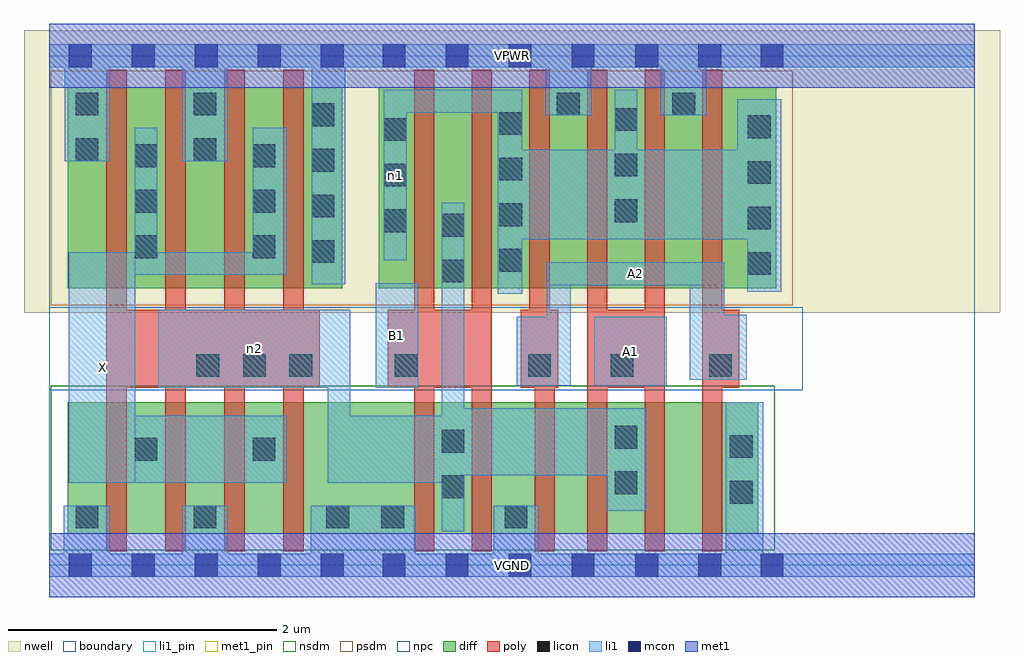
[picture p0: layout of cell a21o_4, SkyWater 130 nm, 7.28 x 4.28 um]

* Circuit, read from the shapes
.subckt a21o_4 A1 A2 B1 VGND VPWR X n1 n2
XM1 X n2 VGND VSUBS sky130_fd_pr__nfet_01v8 w=0.98 l=0.15 m=4
XM2 n2 B1 VGND VSUBS sky130_fd_pr__nfet_01v8 w=0.98 l=0.15 m=2
XM3 n3 A2 VGND VSUBS sky130_fd_pr__nfet_01v8 w=0.98 l=0.15
XM4 n2 A1 n3 VSUBS sky130_fd_pr__nfet_01v8 w=0.98 l=0.15
XM5 n4 A1 n2 VSUBS sky130_fd_pr__nfet_01v8 w=0.98 l=0.15
XM6 VGND A2 n4 VSUBS sky130_fd_pr__nfet_01v8 w=0.98 l=0.15
XM7 X n2 VPWR n5 sky130_fd_pr__pfet_01v8 w=1.5 l=0.15 m=4
XM8 n2 B1 n1 n5 sky130_fd_pr__pfet_01v8 w=1.5 l=0.15 m=2
XM9 VPWR A2 n1 n5 sky130_fd_pr__pfet_01v8 w=1.5 l=0.15 m=2
XM10 n1 A1 VPWR n5 sky130_fd_pr__pfet_01v8 w=1.5 l=0.15 m=2
.ends

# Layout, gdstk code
import gdstk
lib = gdstk.Library(unit=1e-6, precision=1e-09)
def R(c, l, rs):  # rectangles x0, y0, x1, y1
    for r in rs: c.add(gdstk.rectangle(r[:2], r[2:], *l))
def A(c, l, x, y, w, h, nx, ny, dx, dy):  # array of equal rectangles
    R(c, l, [(x+i*dx, y+j*dy, x+i*dx+w, y+j*dy+h) for i in range(nx) for j in range(ny)])
nwell = (64, 20)
diff = (65, 20)
poly = (66, 20)
licon = (66, 44)
li1_pin = (67, 16)
li1 = (67, 20)
mcon = (67, 44)
met1_pin = (68, 16)
met1 = (68, 20)
nsdm = (93, 44)
psdm = (94, 20)
npc = (95, 20)
boundary = (235, 4)

a21o_4 = lib.new_cell('a21o_4')
R(a21o_4, nwell, [(-0.19,1.885,7.09,3.99), (0,1.885,6.9,3.99)])
R(a21o_4, diff, [(0.135,0.235,5.285,1.215), (0.135,2.065,2.185,3.565), (2.455,2.065,5.42,3.565)])
A(a21o_4, poly, 0.425, 0.105, 0.15, 3.59, 4, 1, 0.44, 0)
A(a21o_4, poly, 4.01, 0.105, 0.15, 3.59, 3, 1, 0.43, 0)
R(a21o_4, poly, [(2.72,0.105,2.87,3.695), (3.15,0.105,3.3,3.695), (3.62,0.105,3.77,1.905), (0.425,1.325,2.015,1.905), (2.525,1.325,3.3,1.905), (3.515,1.325,3.795,1.905), (3.58,1.325,3.73,3.695), (4.01,1.325,4.59,1.905), (4.87,1.325,5.145,1.905)])
A(a21o_4, licon, 5.21, 2.165, 0.17, 0.17, 1, 4, 0, 0.34)
A(a21o_4, licon, 3.355, 2.19, 0.17, 0.17, 1, 4, 0, 0.34)
A(a21o_4, licon, 1.955, 2.255, 0.17, 0.17, 1, 4, 0, 0.34)
A(a21o_4, licon, 0.635, 2.29, 0.17, 0.17, 1, 3, 0, 0.34)
A(a21o_4, licon, 1.515, 2.29, 0.17, 0.17, 1, 3, 0, 0.34)
A(a21o_4, licon, 2.495, 2.485, 0.17, 0.17, 1, 3, 0, 0.34)
A(a21o_4, licon, 4.215, 2.56, 0.17, 0.17, 1, 3, 0, 0.34)
R(a21o_4, licon, [(0.195,0.275,0.365,0.445), (1.075,0.275,1.245,0.445), (2.065,0.275,2.235,0.445), (2.475,0.275,2.645,0.445), (3.395,0.275,3.565,0.445), (5.075,0.46,5.245,0.63), (2.925,0.5,3.095,0.67), (4.215,0.53,4.385,0.7), (0.635,0.78,0.805,0.95), (1.515,0.78,1.685,0.95), (5.075,0.8,5.245,0.97), (2.925,0.84,3.095,1.01), (4.215,0.87,4.385,1.04), (1.095,1.405,1.265,1.575), (1.445,1.405,1.615,1.575), (1.79,1.405,1.96,1.575), (2.575,1.405,2.745,1.575), (3.57,1.405,3.74,1.575), (4.185,1.405,4.355,1.575), (4.92,1.405,5.09,1.575), (2.925,2.11,3.095,2.28), (2.925,2.45,3.095,2.62), (0.195,3.015,0.365,3.185), (1.075,3.015,1.245,3.185), (0.195,3.355,0.365,3.525), (1.075,3.355,1.245,3.525), (3.785,3.355,3.955,3.525), (4.645,3.355,4.815,3.525)])
R(a21o_4, li1_pin, [(0.145,0.615,0.64,2.335), (2.435,1.325,2.75,2.105), (4.065,1.34,4.605,1.855), (3.71,2.09,5.035,2.26)])
R(a21o_4, li1, [(0,-0.085,6.9,0.085), (0.105,-0.085,0.45,0.445), (0.99,-0.085,1.33,0.445), (1.95,-0.085,2.73,0.445), (3.315,-0.085,3.65,0.445), (5.045,-0.085,5.325,1.215), (2.925,0.255,3.095,2.705), (4.16,0.405,4.45,1.17), (0.145,0.615,0.64,2.335), (0.145,0.615,1.77,1.115), (2.075,0.615,3.095,1.115), (2.075,0.615,2.245,1.905), (2.925,0.67,4.45,1.17), (0.81,1.325,2.245,1.905), (2.435,1.325,2.75,2.105), (3.485,1.34,3.89,1.855), (3.71,1.34,3.89,2.26), (4.065,1.34,4.605,1.855), (4.775,1.385,5.035,2.26), (4.775,1.385,5.2,1.87), (3.345,2.025,3.525,3.545), (5.205,2.04,5.46,3.475), (3.71,2.09,5.035,2.26), (1.955,2.095,2.205,3.885), (0.145,2.165,1.77,2.335), (0.635,2.165,0.805,3.265), (1.515,2.165,1.77,3.265), (2.495,2.275,2.665,3.545), (3.345,2.43,5.46,3.1), (4.215,2.43,4.385,3.545), (5.13,2.43,5.46,3.475), (0.115,3.015,0.45,3.885), (0.99,3.015,1.33,3.885), (3.7,3.355,4.04,3.885), (4.56,3.355,4.9,3.885), (2.495,3.375,3.525,3.545), (0,3.715,6.9,3.885)])
A(a21o_4, mcon, 0.145, -0.085, 0.17, 0.17, 5, 2, 0.47, 3.8)
A(a21o_4, mcon, 2.485, -0.085, 0.17, 0.17, 4, 2, 0.47, 3.8)
R(a21o_4, mcon, [(4.37,-0.085,4.54,0.085), (4.84,-0.085,5.01,0.085), (5.305,-0.085,5.475,0.085), (4.37,3.715,4.54,3.885), (4.84,3.715,5.01,3.885), (5.305,3.715,5.475,3.885)])
R(a21o_4, met1_pin, [(0,-0.24,6.9,0.24), (0,3.56,6.9,4.04)])
R(a21o_4, met1, [(0,-0.24,6.9,0.24), (0,3.56,6.9,4.04)])
R(a21o_4, nsdm, [(0.01,0.11,5.41,1.34)])
R(a21o_4, psdm, [(0.01,1.94,5.545,3.69)])
R(a21o_4, npc, [(0,1.305,5.62,1.925)])
R(a21o_4, boundary, [(0,0,6.9,3.8)])
a21o_4.add(gdstk.Label('A1', (4.335,1.597), layer=67, texttype=5))
a21o_4.add(gdstk.Label('A2', (4.372,2.175), layer=67, texttype=5))
a21o_4.add(gdstk.Label('B1', (2.592,1.715), layer=67, texttype=5))
a21o_4.add(gdstk.Label('X', (0.392,1.475), layer=67, texttype=5))
a21o_4.add(gdstk.Label('n2', (1.527,1.615), layer=67, texttype=5))
a21o_4.add(gdstk.Label('n1', (2.58,2.91), layer=67, texttype=5))
a21o_4.add(gdstk.Label('VPWR', (3.45,3.8), layer=68, texttype=5))
a21o_4.add(gdstk.Label('VGND', (3.45,0), layer=68, texttype=5))
a21o_4.add(gdstk.Label('A1', (4.335,1.597), layer=67, texttype=16))
a21o_4.add(gdstk.Label('A2', (4.372,2.175), layer=67, texttype=16))
a21o_4.add(gdstk.Label('B1', (2.592,1.715), layer=67, texttype=16))
a21o_4.add(gdstk.Label('X', (0.392,1.475), layer=67, texttype=16))
a21o_4.add(gdstk.Label('VPWR', (3.45,3.8), layer=68, texttype=16))
a21o_4.add(gdstk.Label('VGND', (3.45,0), layer=68, texttype=16))

lib.write_gds('a21o_4.gds')
